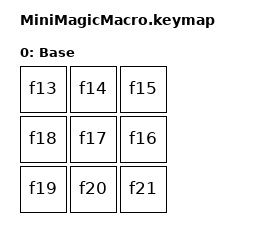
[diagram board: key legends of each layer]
#include <behaviors.dtsi>
#include <dt-bindings/zmk/keys.h>

/{ 

   keymap {
        compatible = "zmk,keymap";

        default_layer { // Layer 0
            display-name = "Base";
            bindings = <
                &kp f13    &kp f14    &kp f15
                &kp f18    &kp f17    &kp f16
            	&kp f19    &kp f20    &kp f21
		>;
        };
    };

};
